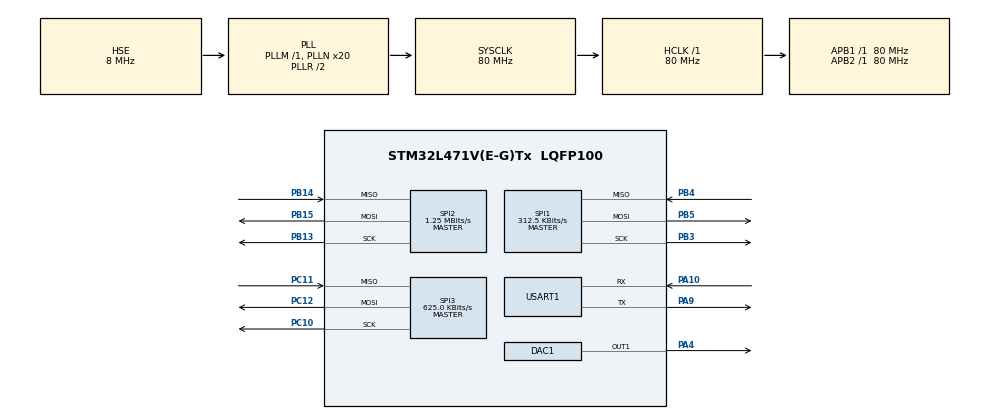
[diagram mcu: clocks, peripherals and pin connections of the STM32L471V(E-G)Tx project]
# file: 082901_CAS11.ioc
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Dma.Request0=SPI1_RX
Dma.Request1=SPI1_TX
Dma.Request2=SPI2_RX
Dma.Request3=SPI2_TX
Dma.Request4=SPI3_RX
Dma.Request5=SPI3_TX
Dma.Request6=USART1_RX
Dma.Request7=USART1_TX
Dma.SPI1_RX.0.Direction=DMA_PERIPH_TO_MEMORY
Dma.SPI1_RX.0.Instance=DMA2_Channel3
Dma.SPI1_RX.0.MemDataAlignment=DMA_MDATAALIGN_BYTE
Dma.SPI1_RX.0.MemInc=DMA_MINC_ENABLE
Dma.SPI1_RX.0.Mode=DMA_NORMAL
Dma.SPI1_RX.0.PeriphDataAlignment=DMA_PDATAALIGN_BYTE
Dma.SPI1_RX.0.PeriphInc=DMA_PINC_DISABLE
Dma.SPI1_RX.0.Priority=DMA_PRIORITY_LOW
Dma.SPI1_TX.1.Direction=DMA_MEMORY_TO_PERIPH
Dma.SPI1_TX.1.Instance=DMA1_Channel3
Dma.SPI1_TX.1.MemDataAlignment=DMA_MDATAALIGN_BYTE
Dma.SPI1_TX.1.MemInc=DMA_MINC_ENABLE
Dma.SPI1_TX.1.Mode=DMA_NORMAL
Dma.SPI1_TX.1.PeriphDataAlignment=DMA_PDATAALIGN_BYTE
Dma.SPI1_TX.1.PeriphInc=DMA_PINC_DISABLE
Dma.SPI1_TX.1.Priority=DMA_PRIORITY_LOW
Dma.SPI2_RX.2.Direction=DMA_PERIPH_TO_MEMORY
Dma.SPI2_RX.2.Instance=DMA1_Channel4
Dma.SPI2_RX.2.MemDataAlignment=DMA_MDATAALIGN_BYTE
Dma.SPI2_RX.2.MemInc=DMA_MINC_ENABLE
Dma.SPI2_RX.2.Mode=DMA_NORMAL
Dma.SPI2_RX.2.PeriphDataAlignment=DMA_PDATAALIGN_BYTE
Dma.SPI2_RX.2.PeriphInc=DMA_PINC_DISABLE
Dma.SPI2_RX.2.Priority=DMA_PRIORITY_LOW
Dma.SPI2_TX.3.Direction=DMA_MEMORY_TO_PERIPH
Dma.SPI2_TX.3.Instance=DMA1_Channel5
Dma.SPI2_TX.3.MemDataAlignment=DMA_MDATAALIGN_BYTE
Dma.SPI2_TX.3.MemInc=DMA_MINC_ENABLE
Dma.SPI2_TX.3.Mode=DMA_CIRCULAR
Dma.SPI2_TX.3.PeriphDataAlignment=DMA_PDATAALIGN_BYTE
Dma.SPI2_TX.3.PeriphInc=DMA_PINC_DISABLE
Dma.SPI2_TX.3.Priority=DMA_PRIORITY_LOW
Dma.SPI3_RX.4.Direction=DMA_PERIPH_TO_MEMORY
Dma.SPI3_RX.4.Instance=DMA2_Channel1
Dma.SPI3_RX.4.MemDataAlignment=DMA_MDATAALIGN_BYTE
Dma.SPI3_RX.4.MemInc=DMA_MINC_ENABLE
Dma.SPI3_RX.4.Mode=DMA_NORMAL
Dma.SPI3_RX.4.PeriphDataAlignment=DMA_PDATAALIGN_BYTE
Dma.SPI3_RX.4.PeriphInc=DMA_PINC_DISABLE
Dma.SPI3_RX.4.Priority=DMA_PRIORITY_LOW
Dma.SPI3_TX.5.Direction=DMA_MEMORY_TO_PERIPH
Dma.SPI3_TX.5.Instance=DMA2_Channel2
Dma.SPI3_TX.5.MemDataAlignment=DMA_MDATAALIGN_BYTE
Dma.SPI3_TX.5.MemInc=DMA_MINC_ENABLE
Dma.SPI3_TX.5.Mode=DMA_NORMAL
Dma.SPI3_TX.5.PeriphDataAlignment=DMA_PDATAALIGN_BYTE
Dma.SPI3_TX.5.PeriphInc=DMA_PINC_DISABLE
Dma.SPI3_TX.5.Priority=DMA_PRIORITY_LOW
Dma.USART1_RX.6.Direction=DMA_PERIPH_TO_MEMORY
Dma.USART1_RX.6.Instance=DMA2_Channel7
Dma.USART1_RX.6.MemDataAlignment=DMA_MDATAALIGN_BYTE
Dma.USART1_RX.6.MemInc=DMA_MINC_ENABLE
Dma.USART1_RX.6.Mode=DMA_NORMAL
Dma.USART1_RX.6.PeriphDataAlignment=DMA_PDATAALIGN_BYTE
Dma.USART1_RX.6.PeriphInc=DMA_PINC_DISABLE
Dma.USART1_RX.6.Priority=DMA_PRIORITY_LOW
Dma.USART1_TX.7.Direction=DMA_MEMORY_TO_PERIPH
Dma.USART1_TX.7.Instance=DMA2_Channel6
Dma.USART1_TX.7.MemDataAlignment=DMA_MDATAALIGN_BYTE
Dma.USART1_TX.7.MemInc=DMA_MINC_ENABLE
Dma.USART1_TX.7.Mode=DMA_NORMAL
Dma.USART1_TX.7.PeriphDataAlignment=DMA_PDATAALIGN_BYTE
Dma.USART1_TX.7.PeriphInc=DMA_PINC_DISABLE
Dma.USART1_TX.7.Priority=DMA_PRIORITY_LOW
Mcu.Family=STM32L4
Mcu.Name=STM32L471V(E-G)Tx
Mcu.Package=LQFP100
NVIC.DMA1_Channel3_IRQn=true\:0\:0\:false\:false\:true\:false\:true\:true
NVIC.DMA1_Channel4_IRQn=true\:0\:0\:false\:false\:true\:false\:true\:true
NVIC.DMA1_Channel5_IRQn=true\:0\:0\:false\:false\:true\:false\:true\:true
NVIC.DMA2_Channel1_IRQn=true\:0\:0\:false\:false\:true\:false\:true\:true
NVIC.DMA2_Channel2_IRQn=true\:0\:0\:false\:false\:true\:false\:true\:true
NVIC.DMA2_Channel3_IRQn=true\:0\:0\:false\:false\:true\:false\:true\:true
NVIC.DMA2_Channel6_IRQn=true\:0\:0\:false\:false\:true\:false\:true\:true
NVIC.DMA2_Channel7_IRQn=true\:0\:0\:false\:false\:true\:false\:true\:true
NVIC.PriorityGroup=NVIC_PRIORITYGROUP_4
NVIC.SPI1_IRQn=true\:0\:0\:false\:false\:true\:true\:true\:true
NVIC.SPI2_IRQn=true\:0\:0\:false\:false\:true\:true\:true\:true
NVIC.TIM2_IRQn=true\:0\:0\:false\:false\:true\:true\:true\:true
NVIC.TIM3_IRQn=true\:0\:0\:false\:false\:true\:true\:true\:true
NVIC.TIM5_IRQn=true\:0\:0\:false\:false\:true\:true\:true\:true
NVIC.USART1_IRQn=true\:0\:0\:false\:false\:true\:true\:true\:true
PA10.Mode=Asynchronous
PA10.Signal=USART1_RX
PA13\ (JTMS-SWDIO).Mode=Serial_Wire
PA13\ (JTMS-SWDIO).Signal=SYS_JTMS-SWDIO
PA14\ (JTCK-SWCLK).Mode=Serial_Wire
PA14\ (JTCK-SWCLK).Signal=SYS_JTCK-SWCLK
PA4.Signal=COMP_DAC11_group
PA9.Mode=Asynchronous
PA9.Signal=USART1_TX
PB13.Mode=Full_Duplex_Master
PB13.Signal=SPI2_SCK
PB14.Mode=Full_Duplex_Master
PB14.Signal=SPI2_MISO
PB15.Mode=Full_Duplex_Master
PB15.Signal=SPI2_MOSI
PB3\ (JTDO-TRACESWO).Mode=Full_Duplex_Master
PB3\ (JTDO-TRACESWO).Signal=SPI1_SCK
PB4\ (NJTRST).Mode=Full_Duplex_Master
PB4\ (NJTRST).Signal=SPI1_MISO
PB5.Mode=Full_Duplex_Master
PB5.Signal=SPI1_MOSI
PC10.Mode=Full_Duplex_Master
PC10.Signal=SPI3_SCK
PC11.Mode=Full_Duplex_Master
PC11.Signal=SPI3_MISO
PC12.Mode=Full_Duplex_Master
PC12.Signal=SPI3_MOSI
PH0-OSC_IN\ (PH0).Mode=HSE-External-Oscillator
PH0-OSC_IN\ (PH0).Signal=RCC_OSC_IN
PH1-OSC_OUT\ (PH1).Mode=HSE-External-Oscillator
PH1-OSC_OUT\ (PH1).Signal=RCC_OSC_OUT
ProjectManager.HeapSize=0x200
ProjectManager.StackSize=0x400
ProjectManager.TargetToolchain=CMake
RCC.ADCFreq_Value=32000000
RCC.AHBFreq_Value=80000000
RCC.APB1Freq_Value=80000000
RCC.APB1TimFreq_Value=80000000
RCC.APB2Freq_Value=80000000
RCC.APB2TimFreq_Value=80000000
RCC.CortexFreq_Value=80000000
RCC.HCLKFreq_Value=80000000
RCC.HSE_VALUE=8000000
RCC.HSI_VALUE=16000000
RCC.LSE_VALUE=32768
RCC.MSI_VALUE=4000000
RCC.PLLN=20
RCC.PLLSourceVirtual=RCC_PLLSOURCE_HSE
RCC.SYSCLKFreq_VALUE=80000000
RCC.SYSCLKSource=RCC_SYSCLKSOURCE_PLLCLK
RCC.VCOOutputFreq_Value=160000000
SH.COMP_DAC11_group.0=DAC1_OUT1,DAC_OUT1
SPI1.BaudRatePrescaler=SPI_BAUDRATEPRESCALER_256
SPI1.CLKPhase=SPI_PHASE_1EDGE
SPI1.CLKPolarity=SPI_POLARITY_LOW
SPI1.CalculateBaudRate=312.5 KBits/s
SPI1.DataSize=SPI_DATASIZE_8BIT
SPI1.Direction=SPI_DIRECTION_2LINES
SPI1.Mode=SPI_MODE_MASTER
SPI1.VirtualType=VM_MASTER
SPI2.BaudRatePrescaler=SPI_BAUDRATEPRESCALER_64
SPI2.CLKPolarity=SPI_POLARITY_LOW
SPI2.CalculateBaudRate=1.25 MBits/s
SPI2.DataSize=SPI_DATASIZE_8BIT
SPI2.Direction=SPI_DIRECTION_2LINES
SPI2.FirstBit=SPI_FIRSTBIT_MSB
SPI2.Mode=SPI_MODE_MASTER
SPI2.VirtualType=VM_MASTER
SPI3.BaudRatePrescaler=SPI_BAUDRATEPRESCALER_128
SPI3.CLKPhase=SPI_PHASE_1EDGE
SPI3.CLKPolarity=SPI_POLARITY_LOW
SPI3.CalculateBaudRate=625.0 KBits/s
SPI3.DataSize=SPI_DATASIZE_8BIT
SPI3.Direction=SPI_DIRECTION_2LINES
SPI3.Mode=SPI_MODE_MASTER
SPI3.VirtualType=VM_MASTER
TIM2.AutoReloadPreload=TIM_AUTORELOAD_PRELOAD_ENABLE
TIM2.Period=99
TIM2.Prescaler=7999
TIM3.Period=10
TIM3.Prescaler=800
USART1.VirtualMode-Asynchronous=VM_ASYNC
VP_TIM2_VS_ClockSourceINT.Mode=Internal
VP_TIM3_VS_ClockSourceINT.Mode=Internal
VP_TIM5_VS_ClockSourceINT.Mode=Internal
board=custom

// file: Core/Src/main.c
/* USER CODE BEGIN Header */
/**
  ******************************************************************************
  * @file           : main.c
  * @brief          : Main program body
  ******************************************************************************
  * @attention
  *
  * Copyright (c) 2024 STMicroelectronics.
  * All rights reserved.
  *
  * This software is licensed under terms that can be found in the LICENSE file
  * in the root directory of this software component.
  * If no LICENSE file comes with this software, it is provided AS-IS.
  *
  ******************************************************************************
  */
/* USER CODE END Header */
#include "main.h"

/* USER CODE BEGIN Includes */
#include "sstv_mode_data.h"
#include "photo_cat.h"
#include "RGB_color_test.h"
#include "DGD_1.h"
#include "DGD_2.h"
#include "DGD_3.h"
/* USER CODE END Includes */

/* USER CODE BEGIN PM */
GM5F2GM7XEXXG_Info_Struct gm5f2gm7xexxg_obj;
GD5F2GM7_Info_Struct gd5f2gm7_obj;
PM004M_Info_Struct pm004m_obj;
LTC5589_Info_Struct ltc5589_obj;
AD9833_Info_Struct ad9833_obj;
AD9833_Info_Struct ad9833_i;
AD9833_Info_Struct ad9833_q;
OSC_Trigger osc_trigger_obj;
Timemeter_Struct timemeter_obj;
extern SSTV_Info_Struct sstv_info;
extern uint16_t test_point[20];

extern TMUX4827_DCSW_Struct tmux4827_5V_DCSW_obj;
extern TMUX4827_DCSW_Struct tmux4827_PA_DCSW_obj;
extern TPS16412_DCProtection_Struct tps16412_5V_PA_obj;
extern TPS16412_DCProtection_Struct tps16412_3V3_PA_obj;
extern TPS16412_DCProtection_Struct tps16412_VCO_obj;
extern TPS16412_DCProtection_Struct tps16412_AVDD_obj;
extern TPS16412_DCProtection_Struct tps16412_AVDD_PLL_obj;
extern TPS22810_DCSW_Struct tps22810_5V_Measure_obj;
// TODO: extern TPS22810_DCSW_Struct tps22810_3V3_Measure_obj;
extern Charger_DCSW_Struct charger_obj;
extern LT3436_Boost_Struct lt3436_obj;
// extern BQ25303_Bat_Struct bq25303_obj;
extern LMR51606_Buck_Struct lmr51606_obj;
extern MXD8546F_RFSW_Struct mxd8546f_obj;
extern SKY13489_RFSW_Struct sky13489_obj;

// urc �????

/* USER CODE END PM */

DAC_HandleTypeDef hdac1;

SPI_HandleTypeDef hspi1;
SPI_HandleTypeDef hspi2;
SPI_HandleTypeDef hspi3;
DMA_HandleTypeDef hdma_spi1_rx;
DMA_HandleTypeDef hdma_spi1_tx;
DMA_HandleTypeDef hdma_spi2_rx;
DMA_HandleTypeDef hdma_spi2_tx;
DMA_HandleTypeDef hdma_spi3_rx;
DMA_HandleTypeDef hdma_spi3_tx;

TIM_HandleTypeDef htim2;
TIM_HandleTypeDef htim3;
TIM_HandleTypeDef htim5;

UART_HandleTypeDef huart1;
DMA_HandleTypeDef hdma_usart1_rx;
DMA_HandleTypeDef hdma_usart1_tx;

/* USER CODE BEGIN PV */

/* 接收相关ringbuffer ------------------------------------------------------------*/
ring_buffer_t uart1_rx_rb;
ring_buffer_t uart1_rx_event_rb;
uint8_t uart1_rx_rb_buffer[4096];
uint8_t uart1_rx_event_rb_buffer[4096];
uint8_t uart1_rx_buffer[256];

/* 发�?�相关ringbuffer ------------------------------------------------------------*/
ring_buffer_t uart1_tx_rb;
ring_buffer_t uart1_tx_event_rb;
uint8_t uart1_tx_rb_buffer[4096];
uint8_t uart1_tx_event_rb_buffer[4096];
uint8_t uart1_tx_buffer[256];

/* 串口1接收空闲中断处理 ------------------------------------------------------------*/
void HAL_UARTEx_RxEventCallback(UART_HandleTypeDef *huart, uint16_t Size) {
    if (huart == &huart1) {
        ring_buffer_put(&uart1_rx_rb, uart1_rx_buffer, Size);       // 把数据放到环形缓冲区�????
        ring_buffer_put(&uart1_rx_event_rb, (uint8_t*)&Size, 2);    // 存储事件的�?�到环形缓冲区中
        HAL_UARTEx_ReceiveToIdle_DMA(&huart1, uart1_rx_buffer, sizeof(uart1_rx_buffer) / sizeof(uart1_rx_buffer[0]));
    }
}

uint32_t at_uart_read(void* buffer, uint32_t len) {
    return ring_buffer_get(&uart1_rx_rb, (uint8_t*)buffer, len);
}

uint32_t at_uart_write(const void* buffer, uint32_t len) {
    ring_buffer_put(&uart1_tx_event_rb, (uint8_t*)&len, 4);
    return ring_buffer_put(&uart1_tx_rb, (uint8_t*) buffer, len);
}

static uint8_t uart1_urcbuffer[256];        // urc 接收缓冲�????
uint8_t uart1_recvbuffer[256];

void task1_handler(void* obj_t, struct at_obj* at, char* recvbuf, int32_t len);
void task2_handler(void* obj_t, struct at_obj* at, char* recvbuf, int32_t len);
void task3_handler(void* obj_t, struct at_obj* at, char* recvbuf, int32_t len);

static at_obj_t at;

static const urc_item_t urc_table[] = {     // urc �????
    {NULL, &at, "task1", task1_handler},
    {NULL, &at, "task2", task2_handler},
    {NULL, &at, "task3", task3_handler},
    {&ltc5589_obj, &at, "AT+5589", LTC5589_AT_Handler},
};

static const at_adapter_t at_adapter = {    // at 适配�????
    .write = at_uart_write,
    .read = at_uart_read,
    .error = NULL,
    .urc_tbl = (urc_item_t*)urc_table,
    .urc_buf = uart1_urcbuffer,
    .recv_buf = uart1_recvbuffer,
    .urc_tbl_count = sizeof(urc_table) / sizeof(urc_table[0]),
    .urc_buf_size = sizeof(uart1_urcbuffer),
    .recv_buf_size = sizeof(uart1_recvbuffer)
};

void task1_handler(void* obj_t, struct at_obj* at, char* recvbuf, int32_t len) {
    char tx_buff[] = "Task1 Receive: ";
    at_send_data(at, (void*)tx_buff, sizeof(tx_buff));
    at_send_data(at, (void*)recvbuf, len);
}

void task2_handler(void* obj_t, struct at_obj* at, char* recvbuf, int32_t len) {
    uint8_t tx_buff[] = "\ntask2 receive: ";
    HAL_UART_Transmit(&huart1, tx_buff, sizeof(tx_buff), HAL_MAX_DELAY);
    HAL_UART_Transmit(&huart1, (uint8_t*)recvbuf, len, HAL_MAX_DELAY);
}

void task3_handler(void* obj_t, struct at_obj* at, char* recvbuf, int32_t len) {
    uint8_t tx_buff[] = "\ntask3 receive: ";
    HAL_UART_Transmit(&huart1, tx_buff, sizeof(tx_buff), HAL_MAX_DELAY);
    HAL_UART_Transmit(&huart1, (uint8_t*)recvbuf, len, HAL_MAX_DELAY);
}

void HAL_SPI_TxCpltCallback(SPI_HandleTypeDef *hspi) {
    //------------------------------FLAH中断处理------------------------------
    // GD5F2GM7_Transmit_IRQ_Handler(&gd5f2gm7_obj, hspi);
    //------------------------------MRAM中断处理------------------------------
    // PM004M_Transmit_IRQ_Handler(&pm004m_obj, hspi);
    //------------------------------DDS中断处理------------------------------
    AD9833_Transmit_IRQ_Handler(&ad9833_obj, hspi);
}

void HAL_SPI_RxCpltCallback(SPI_HandleTypeDef *hspi) {
    //------------------------------FLASH中断处理------------------------------
    GD5F2GM7_Receive_IRQ_Handler(&gd5f2gm7_obj, hspi);
    //------------------------------MRAM中断处理------------------------------
    PM004M_Receive_IRQ_Handler(&pm004m_obj, hspi);
}

void HAL_TIM_PeriodElapsedCallback(TIM_HandleTypeDef* htim){
    if(htim->Instance == gd5f2gm7_obj.tim->Instance && sstv_info._sstv_tx_state == SSTV_Transmitting){
      __HAL_TIM_DISABLE(sstv_info.gd5f2gm7_obj->tim);

      sstv_info._flash_RA += 1;
      GD5F2GM7_PageRead_ToCache(sstv_info.gd5f2gm7_obj, sstv_info._flash_RA);
      test_point[13]++;
      // printf("tc\r\n");
    }else if(htim->Instance == osc_trigger_obj.osc_tim->Instance){
      osc_trigger_end(&osc_trigger_obj);
      printf("osc trigger end\r\n");
    }
}

/* USER CODE END PV */

void SystemClock_Config(void);
static void MX_GPIO_Init(void);
static void MX_DMA_Init(void);
static void MX_USART1_UART_Init(void);
static void MX_SPI1_Init(void);
static void MX_SPI2_Init(void);
static void MX_SPI3_Init(void);
static void MX_DAC1_Init(void);
static void MX_TIM2_Init(void);
static void MX_TIM3_Init(void);
static void MX_TIM5_Init(void);

int main(void)
{

  /* MCU Configuration--------------------------------------------------------*/

  /* Reset of all peripherals, Initializes the Flash interface and the Systick. */
  HAL_Init();

  /* Configure the system clock */
  SystemClock_Config();

  /* Initialize all configured peripherals */
  MX_GPIO_Init();
  MX_DMA_Init();
  MX_USART1_UART_Init();
  MX_SPI1_Init();
  MX_SPI2_Init();
  MX_SPI3_Init();
  MX_DAC1_Init();
  MX_TIM2_Init();
  MX_TIM3_Init();
  MX_TIM5_Init();
  /* USER CODE BEGIN 2 */
  /*--------------控制信号---------------*/
#ifdef CONTROL_TEST
  #ifdef BOARD_v1
  control_output_init();
  HAL_Delay(300);
  EN_TPS16412_DCProtection(tps16412_VCO_obj);
  EN_TPS16412_DCProtection(tps16412_AVDD_obj);
  EN_TPS16412_DCProtection(tps16412_AVDD_PLL_obj);
  EN_LMR51606_BUCK(lmr51606_obj);
  HAL_Delay(300);
  #else

  #endif
#endif
  /*--------------示波器触发源---------------*/
  #ifdef OSC_TRIGGER_TEST
  osc_trigger_init(&osc_trigger_obj, GPIO_PIN_0, GPIOB, RISING_EDGE, &htim5);
  osc_trigger_prepare(&osc_trigger_obj);
  #endif
  #ifdef CAL_TIME
  Timemeter_Init(&timemeter_obj);
  #endif

//----------------------------------AT指令测试------------------------------
  #ifdef AT_TEST
  // ring_buffer_init(&uart1_rx_rb, uart1_rx_rb_buffer, sizeof(uart1_rx_rb_buffer) / sizeof(uart1_rx_rb_buffer[0]));
  // ring_buffer_init(&uart1_rx_event_rb, uart1_rx_event_rb_buffer, sizeof(uart1_rx_event_rb_buffer) / sizeof(uart1_rx_event_rb_buffer[0]));
  // ring_buffer_init(&uart1_tx_rb, uart1_tx_buffer, sizeof(uart1_tx_rb_buffer) / sizeof(uart1_tx_rb_buffer[0]));
  // ring_buffer_init(&uart1_tx_event_rb, uart1_tx_event_rb_buffer, sizeof(uart1_tx_event_rb_buffer) / sizeof(uart1_tx_event_rb_buffer[0]));

  // HAL_UARTEx_ReceiveToIdle_IT(&huart1, uart1_rx_buffer, sizeof(uart1_rx_buffer) / sizeof(uart1_rx_buffer[0]));
  // 使用DMA进行接收,保证数据不会丢失
  // HAL_UARTEx_ReceiveToIdle_DMA(&huart1, uart1_rx_buffer, sizeof(uart1_rx_buffer) / sizeof(uart1_rx_buffer[0]));
  // at_obj_init(&at, &at_adapter);
  #endif

  uint32_t uart1_tx_data_size = 0;
  uint32_t uart1_rx_data_size = 0;

  //------------------------------MRAM驱动测试------------------------------
  #ifdef MRAM_TEST
  uint8_t mram_data = 0xaa;
  PM004M_Init(&pm004m_obj, &hspi1, GPIO_PIN_9, GPIOB);
  PM004M_ModeRegisterWrite(&pm004m_obj, 0x0000, 0x80);
  PM004M_ModeRegisterRead(&pm004m_obj, 0x0000, &mram_data);
  printf("MRAM data: %x\r\n", mram_data);
  #endif

  //------------------------------FLASH驱动测试------------------------------
  #ifdef FLASH_TEST
  AD9833_Init(&ad9833_i, NULL, GPIO_PIN_6, GPIOC, 25000000);
  AD9833_Init(&ad9833_q, NULL, GPIO_PIN_12, GPIOB, 25000000);

  uint8_t reg_status = 0xaa;
  GD5F2GM7_Init(&gd5f2gm7_obj, &hspi1, GPIO_PIN_6, GPIOB, &htim3, 40);
  GD5F2GM7_Reset(&gd5f2gm7_obj);
  HAL_Delay(1);
  GD5F2GM7_Get_Features(&gd5f2gm7_obj, 0xA0, &reg_status);
  printf("A0: %x\r\n", reg_status);
  GD5F2GM7_Get_Features(&gd5f2gm7_obj, 0xB0, &reg_status);
  printf("B0: %x\r\n", reg_status);
  GD5F2GM7_Get_Features(&gd5f2gm7_obj, 0xC0, &reg_status);
  printf("C0: %x\r\n", reg_status);
  GD5F2GM7_Get_Features(&gd5f2gm7_obj, 0xD0, &reg_status);
  printf("D0: %x\r\n", reg_status);
  GD5F2GM7_Get_Features(&gd5f2gm7_obj, 0xF0, &reg_status);
  printf("F0: %x\r\n", reg_status);
  // GD5F2GM7_Set_Features(&gd5f2gm7_obj, 0xC0, 0x02);
  printf("\r\n");

  SSTV_Init(&SCT1_MODE, &ad9833_i, &ad9833_q, &gd5f2gm7_obj, 0);
  // gen_flash_data第二个参数为图片�???在flash首地�???
  gen_flash_data(&gd5f2gm7_obj, 0, DGD_1_R1, DGD_1_G1, DGD_1_B1);
  gen_flash_data(&gd5f2gm7_obj, 256*3, DGD_2_R1, DGD_2_G1, DGD_2_B1);
  gen_flash_data(&gd5f2gm7_obj, 256*3*2, DGD_3_R1, DGD_3_G1, DGD_3_B1);

  GD5F2GM7_Get_Features(&gd5f2gm7_obj, 0xA0, &reg_status);
  printf("A0: %x\r\n", reg_status);
  GD5F2GM7_Get_Features(&gd5f2gm7_obj, 0xB0, &reg_status);
  printf("B0: %x\r\n", reg_status);
  GD5F2GM7_Get_Features(&gd5f2gm7_obj, 0xC0, &reg_status);
  printf("C0: %x\r\n", reg_status);
  GD5F2GM7_Get_Features(&gd5f2gm7_obj, 0xD0, &reg_status);
  printf("D0: %x\r\n", reg_status);
  GD5F2GM7_Get_Features(&gd5f2gm7_obj, 0xF0, &reg_status);
  printf("F0: %x\r\n", reg_status);
  // HAL_UART_Transmit(&huart1, reg_status, 1, HAL_MAX_DELAY);
  #endif
  // for(uint32_t i = 0; i < 81920;i++){
  //   printf("%x ", R1[i]);
  // }
  // printf("\r\n");
  // for(uint32_t i = 0; i < 81920;i++){
  //   printf("%x ", G1[i]);
  // }
  // printf("\r\n");
  // for(uint32_t i = 0; i < 81920;i++){
  //   printf("%x ", B1[i]);
  // }
  // printf("\r\n");

  //------------------------------本振ADF4252测试------------------------------
#ifdef ADF4252_TEST
  ADF4252_Info_Struct adf4252_obj;

  #ifdef BOARD_v1
  UTILS_RCC_GPIO_Enable(GPIOE);
  GPIO_InitTypeDef GPIO_InitStruct = {0};
  GPIO_InitStruct.Mode = GPIO_MODE_OUTPUT_PP;
  GPIO_InitStruct.Pull = GPIO_NOPULL;
  GPIO_InitStruct.Speed = GPIO_SPEED_FREQ_HIGH;

  HAL_GPIO_WritePin(GPIOE, GPIO_PIN_9|GPIO_PIN_10, GPIO_PIN_RESET);
  GPIO_InitStruct.Pin = GPIO_PIN_9|GPIO_PIN_10;
  HAL_GPIO_Init(GPIOE, &GPIO_InitStruct);
  ADF4252_Init(&adf4252_obj, &hspi3, GPIO_PIN_11, GPIOE);
  #else
  ADF4252_Init(&adf4252_obj, &hspi3, GPIO_PIN_6, GPIOA);
  #endif

  (&adf4252_obj)->_val_rf_n_divider  = 0x780008;
  (&adf4252_obj)->_val_rf_r_divider  = 0x108009;
  (&adf4252_obj)->_val_rf_control    = 0x88C2;
  (&adf4252_obj)->_val_master        = 0x7C3;
  (&adf4252_obj)->_val_if_n_divider  = 0x40A864;
  (&adf4252_obj)->_val_if_r_divider  = 0x195;
  (&adf4252_obj)->_val_if_control    = 0xA6;
  ADF4252_Write_All_Registers(&adf4252_obj);
  HAL_Delay(1000);
#endif

  //------------------------------生成DDS的直流电�????------------------------------
  // HAL_DAC_SetValue(&hdac1, DAC_CHANNEL_1, DAC_ALIGN_12B_R, 470);
  // HAL_DAC_Start(&hdac1, DAC_CHANNEL_1);

  //------------------------------LTC5589驱动测试------------------------------
#ifdef LTC5589_TEST
  #ifdef BOARD_v1
  UTILS_RCC_GPIO_Enable(GPIOC);
  UTILS_RCC_GPIO_Enable(GPIOB);
  GPIO_InitStruct.Mode = GPIO_MODE_OUTPUT_PP;
  GPIO_InitStruct.Pull = GPIO_NOPULL;
  GPIO_InitStruct.Speed = GPIO_SPEED_FREQ_HIGH;

  HAL_GPIO_WritePin(GPIOC, GPIO_PIN_1, GPIO_PIN_RESET);
  HAL_GPIO_WritePin(GPIOB, GPIO_PIN_0, GPIO_PIN_RESET);
  GPIO_InitStruct.Pin = GPIO_PIN_0;
  HAL_GPIO_Init(GPIOB, &GPIO_InitStruct); // clk
  GPIO_InitStruct.Pin = GPIO_PIN_1;
  HAL_GPIO_Init(GPIOB, &GPIO_InitStruct); // mosi

  GPIO_InitStruct.Mode = GPIO_MODE_INPUT;
  GPIO_InitStruct.Pin = GPIO_PIN_2;
  HAL_GPIO_Init(GPIOB, &GPIO_InitStruct); // miso

  LTC5589_Init(&ltc5589_obj, &hspi3, GPIO_PIN_5, GPIOC, GPIO_PIN_7, GPIOE, GPIO_PIN_8, GPIOE);
  #else

  // FIXME: 小板子没有EN Pin
  LTC5589_Init(&ltc5589_obj, &hspi3, GPIO_PIN_0, GPIOB, GPIO_PIN_1, GPIOB, GPIO_PIN_7, GPIOE);
  #endif
  LTC5589_Set_Frequency(&ltc5589_obj, 0x41);

  LTC5589_Set_DigitalGain_Coarse(&ltc5589_obj, 0);
  LTC5589_Set_DCOffset(&ltc5589_obj, LTC5589_CHANNEL_I, 131);//0x13
#endif /* LTC5589_TEST */

  //------------------------------AD9833测试------------------------------
  #ifdef AD9833_TEST
  #ifdef BOARD_v1
  AD9833_Init(&ad9833_i, NULL, GPIO_PIN_14, GPIOB, 25000000);
  AD9833_Init(&ad9833_q, NULL, GPIO_PIN_12, GPIOB, 25000000);
  #else
  AD9833_Init(&ad9833_i, NULL, GPIO_PIN_6, GPIOC, 25000000);
  AD9833_Init(&ad9833_q, NULL, GPIO_PIN_12, GPIOB, 25000000);
  #endif
  AD9833_Init_Tx_DMA_TIM(&ad9833_i, &ad9833_q, &hspi2, &htim2);
  uint32_t freq = 3000;
  AD9833_Transmit_Start(&ad9833_q);
  AD9833_Transmit_Start(&ad9833_i);
  // 使能以后要等一会儿
  UTILS_Delay_us(10);
  // AD9833_Transmit_Stop(&ad9833_q);
  // AD9833_Transmit_Stop(&ad9833_i);
  // UTILS_Delay_us(10);
  // AD9833_Reset(&ad9833_i, true, true);
  // UTILS_Delay_us(10);
  // AD9833_Transmit_Start(&ad9833_i);
  // UTILS_Delay_us(10);
  // AD9833_SetPhase(&ad9833_i, AD9833_REG_PHASE0, 0x000);
  // UTILS_Delay_us(10);
  // AD9833_Transmit_Stop(&ad9833_i);

  // AD9833_Transmit_Start(&ad9833_q);
  // UTILS_Delay_us(10);
  // AD9833_SetPhase(&ad9833_q, AD9833_REG_PHASE0, 0x400);
  // UTILS_Delay_us(10);

  // AD9833_Transmit_Start(&ad9833_i);   // 同时控制I Q路
  // AD9833_SetWave(&ad9833_i, AD9833_WAVE_SINUSOID, false);
  // AD9833_FrequencyOutSelect(&ad9833_i, AD9833_OUT_FREQ0, false);
  // AD9833_PhaseOutSelect(&ad9833_i, AD9833_OUT_PHASE0, false);
  // AD9833_Sleep(&ad9833_i, AD9833_SLEEP_NO_PWERDOWN, false);

  uint16_t raw_frq = 1500;
  uint16_t frqh = AD9833_REG_FREQ0;
  uint16_t frql = AD9833_REG_FREQ0;
  AD9833_FrequencyConversion_2Reg(&ad9833_i, &raw_frq, &frqh, &frql);
  // printf("%x %x\r\n", frqh, frql);
  AD9833_Reset(&ad9833_i, false, false); // 开启输出
  UTILS_Delay_us(10);
  AD9833_Write_Whole_Frq(&ad9833_i, &frqh, &frql);  // 同时写入control reg
  UTILS_Delay_us(10);

  HAL_Delay(3000);
  raw_frq = 2000;
  AD9833_FrequencyConversion_2Reg(&ad9833_i, &raw_frq, &frqh, &frql);
  AD9833_Write_Whole_Frq(&ad9833_i, &frqh, &frql);
  AD9833_Transmit_Stop(&ad9833_i);
  AD9833_Transmit_Stop(&ad9833_q);

  #endif

  uint8_t i_dc_offset = 0x50;
  uint8_t ltc_freq = 0x3d;
  uint8_t packet[256];
  int8_t gain = -19;
  uint8_t char_map[] = {'0', '1', '2', '3', '4', '5', '6', '7', '8', '9', 'A', 'B', 'C', 'D', 'E', 'F'};
  uint8_t ratio = 1;
  uint16_t dds_phrase = 0x300;

  #ifdef SSTV_TEST
  // 在flashtest配置�???
  AD9833_Init(&ad9833_i, NULL, GPIO_PIN_6, GPIOC, 25000000);
  AD9833_Init(&ad9833_q, NULL, GPIO_PIN_12, GPIOB, 25000000);
/*
  仅测试用，低速IO操作�????
  PB10->CLK
  PC3->DATA
*/
  // UTILS_RCC_GPIO_Enable(GPIOB);
  // GPIO_InitTypeDef GPIO_InitStruct = {0};

  // GPIO_InitStruct.Pin = GPIO_PIN_12|GPIO_PIN_13|GPIO_PIN_15;
  // GPIO_InitStruct.Mode = GPIO_MODE_OUTPUT_PP;
  // GPIO_InitStruct.Pull = GPIO_NOPULL;
  // GPIO_InitStruct.Speed = GPIO_SPEED_FREQ_HIGH;
  // HAL_GPIO_Init(GPIOB, &GPIO_InitStruct);

  // UTILS_RCC_GPIO_Enable(GPIOC);

  // GPIO_InitStruct.Pin = GPIO_PIN_6;
  // GPIO_InitStruct.Mode = GPIO_MODE_OUTPUT_PP;
  // GPIO_InitStruct.Pull = GPIO_NOPULL;
  // GPIO_InitStruct.Speed = GPIO_SPEED_FREQ_HIGH;
  // HAL_GPIO_Init(GPIOC, &GPIO_InitStruct);
  //-------------------------------------------

  HAL_GPIO_WritePin(ad9833_i.fsync_pin_type, ad9833_i.fsync_pin, GPIO_PIN_SET);   // FSYNC default high
  HAL_GPIO_WritePin(ad9833_q.fsync_pin_type, ad9833_q.fsync_pin, GPIO_PIN_SET);
  HAL_Delay(10);

  // osc_trigger_start(&osc_trigger_obj);
  // �???后一个参数为发�?�的图片的首地址
  uint8_t send = 1;
  SSTV_Init(&SCT1_MODE, &ad9833_i, &ad9833_q, &gd5f2gm7_obj, 0);
  SSTV_Transmit();

  // HAL_GPIO_WritePin(ad9833_i.fsync_pin_type, ad9833_i.fsync_pin, GPIO_PIN_SET);
  // HAL_GPIO_WritePin(ad9833_q.fsync_pin_type, ad9833_q.fsync_pin, GPIO_PIN_SET);
  #endif/* SSTV_TEST */
  /* USER CODE END 2 */

  /* Infinite loop */
  while (1)
  {

    /* USER CODE BEGIN 3 */
    printf("while\r\n");
    HAL_Delay(1000);
    #ifdef SSTV_TEST
    if(Get_SSTV_Status() == UTILS_IDLE){
      HAL_Delay(4000);
      // HAL_TIM_Base_DeInit(&htim2);
      // HAL_DMA_DeInit(sstv_info.AD9833_I->spi->hdmatx);
      // MX_DMA_Init();
      // MX_TIM2_Init();
      if(send == 1){
        SSTV_Init(&SCT1_MODE, &ad9833_i, &ad9833_q, &gd5f2gm7_obj, 256*3);
        SSTV_Transmit();
        send++;
      }else if(send == 2){
        SSTV_Init(&SCT1_MODE, &ad9833_i, &ad9833_q, &gd5f2gm7_obj, 256*3*2);
        SSTV_Transmit();
        send++;
      }
    }
    #endif

    #ifdef AD9833_SCAN_TEST
    #ifdef BOARD_v1
    AD9833_Init(&ad9833_i, NULL, GPIO_PIN_14, GPIOB, 25000000);
    AD9833_Init(&ad9833_q, NULL, GPIO_PIN_12, GPIOB, 25000000);
    #else
    AD9833_Init(&ad9833_i, NULL, GPIO_PIN_6, GPIOC, 25000000);
    AD9833_Init(&ad9833_q, NULL, GPIO_PIN_12, GPIOB, 25000000);
    #endif
    AD9833_Init_Tx_DMA_TIM(&ad9833_i, &ad9833_q, &hspi2, &htim2);
    uint32_t freq = 3000;
    // Reset both DDS
    // AD9833_Reset(&ad9833_i, true);
    // AD9833_Reset(&ad9833_q, true);
    HAL_GPIO_WritePin(ad9833_i.fsync_pin_type, ad9833_i.fsync_pin, GPIO_PIN_RESET);
    HAL_GPIO_WritePin(ad9833_q.fsync_pin_type, ad9833_q.fsync_pin, GPIO_PIN_RESET);
    HAL_Delay(1);
    uint16_t temp = AD9833_REG_CONTROL | AD9833_REG_RESET;
    SPI_Write_Half_Word(ad9833_i.spi, &temp);
    HAL_Delay(200);

    // write i phase 0
    HAL_GPIO_WritePin(ad9833_q.fsync_pin_type, ad9833_q.fsync_pin, GPIO_PIN_SET);
    HAL_Delay(1);
    temp = AD9833_REG_PHASE0 | 0x000;
    SPI_Write_Half_Word(ad9833_i.spi, &temp);
    HAL_Delay(1);
    // write q phase pi/2
    HAL_GPIO_WritePin(ad9833_q.fsync_pin_type, ad9833_q.fsync_pin, GPIO_PIN_RESET);
    HAL_GPIO_WritePin(ad9833_i.fsync_pin_type, ad9833_i.fsync_pin, GPIO_PIN_SET);
    HAL_Delay(1);
    uint16_t dds_phrase_init = 0x3e0;
    if(dds_phrase < 0x420){
      dds_phrase += 4;
    }else{
      dds_phrase = dds_phrase_init;
    }
    // dds_phrase = 0x3e6;
    printf("dds phrase: %x\r\n", dds_phrase);
    temp = AD9833_REG_PHASE0 | dds_phrase;
    SPI_Write_Half_Word(ad9833_i.spi, &temp);
    HAL_Delay(1);

    // write both DDS frq
    HAL_GPIO_WritePin(ad9833_i.fsync_pin_type, ad9833_i.fsync_pin, GPIO_PIN_RESET);
    HAL_GPIO_WritePin(ad9833_q.fsync_pin_type, ad9833_q.fsync_pin, GPIO_PIN_RESET);
    HAL_Delay(1);
    uint16_t raw_frq = 1500;
    uint16_t frqh = AD9833_REG_FREQ0;
    uint16_t frql = AD9833_REG_FREQ0;
    AD9833_FrequencyConversion_2Reg(&ad9833_i, &raw_frq, &frqh, &frql);
    // printf("%x %x\r\n", frqh, frql);
    AD9833_Write_Whole_Frq(&hspi2, &frqh, &frql);
    HAL_Delay(1);
    HAL_GPIO_WritePin(ad9833_i.fsync_pin_type, ad9833_i.fsync_pin, GPIO_PIN_SET);
    HAL_GPIO_WritePin(ad9833_q.fsync_pin_type, ad9833_q.fsync_pin, GPIO_PIN_SET);
    HAL_Delay(1000);
    #endif

    // printf("while\r\n");
    // if (ring_buffer_get(&uart1_rx_event_rb, (uint8_t*)&uart1_rx_data_size, 4) != 0) {
    //     at_recv_task(&at, uart1_rx_data_size);
    // }

    // if (ring_buffer_get(&uart1_tx_event_rb, (uint8_t*)&uart1_tx_data_size, 4) != 0) {
    //     ring_buffer_get(&uart1_tx_rb, uart1_tx_buffer, uart1_tx_data_size);
    //     HAL_UART_Transmit(&huart1, uart1_tx_buffer, uart1_tx_data_size, HAL_MAX_DELAY);
    // }

    // AD9833_SetFrequency(&ad9833_obj, AD9833_REG_FREQ0, AD9833_FREQ_ALL, &freq_list[0], 1, UTILS_DMA);
    // HAL_Delay(1000);
    // AD9833_SetFrequency(&ad9833_obj, AD9833_REG_FREQ0, AD9833_FREQ_ALL, &freq_list[1], 1, UTILS_DMA);
    // HAL_Delay(1000);
    // AD9833_SetFrequency(&ad9833_obj, AD9833_REG_FREQ0, AD9833_FREQ_ALL, &freq_list[2], 1, UTILS_DMA);
    // HAL_Delay(1000);
    // AD9833_SetFrequency(&ad9833_obj, AD9833_REG_FREQ0, AD9833_FREQ_ALL, &freq_list[3], 1, UTILS_DMA);
    // HAL_Delay(1000);

    //------------------------------LTC5589测试------------------------------
    #ifdef LTC5589_SCAN_TEST
    // LTC5589_Set_Frequency(&ltc5589_obj, ltc_freq);
    // LTC5589_Read_Register(&ltc5589_obj, 0x00, rx_buff);

    // LTC5589_Set_DigitalGain_Coarse(&ltc5589_obj, gain);

    LTC5589_Set_DCOffset(&ltc5589_obj, LTC5589_CHANNEL_I, i_dc_offset);
    i_dc_offset += 10;
    if (i_dc_offset >= 250) {
        i_dc_offset = 1;
    }
    printf("mixer i dc offset: %d\r\n", i_dc_offset);

    /*
    LTC5589_Set_IQ_GainRatio(&ltc5589_obj, ratio);

    do {
        LTC5589_Set_DCOffset(&ltc5589_obj, LTC5589_CHANNEL_I, i_dc_offset);
        packet[0] = char_map[(i_dc_offset & 0xF0) >> 4];
        packet[1] = char_map[(i_dc_offset & 0x0F)];
        // packet[2] = '\n';
        packet[2] = ' ';
        packet[3] = char_map[(ratio & 0xF0) >> 4];
        packet[4] = char_map[(ratio & 0x0F)];
        packet[5] = '\n';
        HAL_UART_Transmit(&huart1, packet, 6, HAL_MAX_DELAY);

        i_dc_offset += 5;
        if (i_dc_offset >= 250) {
            i_dc_offset = 1;
            break;
        }

        packet[2] = ' ';
        // 扫增�??????
        packet[3] = '-';
        packet[4] = char_map[((-gain) & 0xF0) >> 4];
        packet[5] = char_map[((-gain) & 0x0F)];
        packet[6] = '\n';
        // 扫频
        // packet[3] = char_map[(ltc_freq & 0xF0) >> 4];
        // packet[4] = char_map[(ltc_freq & 0x0F)];
        // packet[5] = char_map[(rx_buff[0] & 0xF0) >> 4];
        // packet[6] = char_map[(rx_buff[0] & 0x0F)];
        // packet[7] = '\n';
        HAL_Delay(1000);
    } while(1);

    ratio += 5;
    if (ratio >= 250)
        ratio = 1;

    // ltc_freq += 1;
    // if (ltc_freq == 0x43)
    //     ltc_freq = 0x3d;

    // AD9833_SetFrequency(&ad9833_obj, AD9833_REG_FREQ0, AD9833_FREQ_NO_CHANGE, &freq, sizeof(freq), UTILS_LOOP);
    // AD9833_FrequencyOutSelect(&ad9833_obj, AD9833_OUT_FREQ0);
    HAL_Delay(1000);
    */
    #endif
    //------------------------------LTC5589测试------------------------------
  }
  /* USER CODE END 3 */
}

void SystemClock_Config(void)
{
  RCC_OscInitTypeDef RCC_OscInitStruct = {0};
  RCC_ClkInitTypeDef RCC_ClkInitStruct = {0};

  /** Configure the main internal regulator output voltage
  */
  if (HAL_PWREx_ControlVoltageScaling(PWR_REGULATOR_VOLTAGE_SCALE1) != HAL_OK)
  {
    Error_Handler();
  }

  /** Initializes the RCC Oscillators according to the specified parameters
  * in the RCC_OscInitTypeDef structure.
  */
  RCC_OscInitStruct.OscillatorType = RCC_OSCILLATORTYPE_HSE;
  RCC_OscInitStruct.HSEState = RCC_HSE_ON;
  RCC_OscInitStruct.PLL.PLLState = RCC_PLL_ON;
  RCC_OscInitStruct.PLL.PLLSource = RCC_PLLSOURCE_HSE;
  RCC_OscInitStruct.PLL.PLLM = 1;
  RCC_OscInitStruct.PLL.PLLN = 20;
  RCC_OscInitStruct.PLL.PLLP = RCC_PLLP_DIV7;
  RCC_OscInitStruct.PLL.PLLQ = RCC_PLLQ_DIV2;
  RCC_OscInitStruct.PLL.PLLR = RCC_PLLR_DIV2;
  if (HAL_RCC_OscConfig(&RCC_OscInitStruct) != HAL_OK)
  {
    Error_Handler();
  }

  /** Initializes the CPU, AHB and APB buses clocks
  */
  RCC_ClkInitStruct.ClockType = RCC_CLOCKTYPE_HCLK|RCC_CLOCKTYPE_SYSCLK
                              |RCC_CLOCKTYPE_PCLK1|RCC_CLOCKTYPE_PCLK2;
  RCC_ClkInitStruct.SYSCLKSource = RCC_SYSCLKSOURCE_PLLCLK;
  RCC_ClkInitStruct.AHBCLKDivider = RCC_SYSCLK_DIV1;
  RCC_ClkInitStruct.APB1CLKDivider = RCC_HCLK_DIV1;
  RCC_ClkInitStruct.APB2CLKDivider = RCC_HCLK_DIV1;

  if (HAL_RCC_ClockConfig(&RCC_ClkInitStruct, FLASH_LATENCY_4) != HAL_OK)
  {
    Error_Handler();
  }
}

static void MX_DAC1_Init(void)
{

  DAC_ChannelConfTypeDef sConfig = {0};

  /** DAC Initialization
  */
  hdac1.Instance = DAC1;
  if (HAL_DAC_Init(&hdac1) != HAL_OK)
  {
    Error_Handler();
  }

  /** DAC channel OUT1 config
  */
  sConfig.DAC_SampleAndHold = DAC_SAMPLEANDHOLD_DISABLE;
  sConfig.DAC_Trigger = DAC_TRIGGER_NONE;
  sConfig.DAC_OutputBuffer = DAC_OUTPUTBUFFER_ENABLE;
  sConfig.DAC_ConnectOnChipPeripheral = DAC_CHIPCONNECT_DISABLE;
  sConfig.DAC_UserTrimming = DAC_TRIMMING_FACTORY;
  if (HAL_DAC_ConfigChannel(&hdac1, &sConfig, DAC_CHANNEL_1) != HAL_OK)
  {
    Error_Handler();
  }

}

static void MX_SPI1_Init(void)
{

  /* SPI1 parameter configuration*/
  hspi1.Instance = SPI1;
  hspi1.Init.Mode = SPI_MODE_MASTER;
  hspi1.Init.Direction = SPI_DIRECTION_2LINES;
  hspi1.Init.DataSize = SPI_DATASIZE_8BIT;
  hspi1.Init.CLKPolarity = SPI_POLARITY_LOW;
  hspi1.Init.CLKPhase = SPI_PHASE_1EDGE;
  hspi1.Init.NSS = SPI_NSS_SOFT;
  hspi1.Init.BaudRatePrescaler = SPI_BAUDRATEPRESCALER_256;
  hspi1.Init.FirstBit = SPI_FIRSTBIT_MSB;
  hspi1.Init.TIMode = SPI_TIMODE_DISABLE;
  hspi1.Init.CRCCalculation = SPI_CRCCALCULATION_DISABLE;
  hspi1.Init.CRCPolynomial = 7;
  hspi1.Init.CRCLength = SPI_CRC_LENGTH_DATASIZE;
  hspi1.Init.NSSPMode = SPI_NSS_PULSE_ENABLE;
  if (HAL_SPI_Init(&hspi1) != HAL_OK)
  {
    Error_Handler();
  }

}

static void MX_SPI2_Init(void)
{

  /* SPI2 parameter configuration*/
  hspi2.Instance = SPI2;
  hspi2.Init.Mode = SPI_MODE_MASTER;
  hspi2.Init.Direction = SPI_DIRECTION_2LINES;
  hspi2.Init.DataSize = SPI_DATASIZE_8BIT;
  hspi2.Init.CLKPolarity = SPI_POLARITY_LOW;
  hspi2.Init.CLKPhase = SPI_PHASE_1EDGE;
  hspi2.Init.NSS = SPI_NSS_SOFT;
  hspi2.Init.BaudRatePrescaler = SPI_BAUDRATEPRESCALER_64;
  hspi2.Init.FirstBit = SPI_FIRSTBIT_MSB;
  hspi2.Init.TIMode = SPI_TIMODE_DISABLE;
  hspi2.Init.CRCCalculation = SPI_CRCCALCULATION_DISABLE;
  hspi2.Init.CRCPolynomial = 7;
  hspi2.Init.CRCLength = SPI_CRC_LENGTH_DATASIZE;
  hspi2.Init.NSSPMode = SPI_NSS_PULSE_ENABLE;
  if (HAL_SPI_Init(&hspi2) != HAL_OK)
  {
    Error_Handler();
  }

}

static void MX_SPI3_Init(void)
{

  /* SPI3 parameter configuration*/
  hspi3.Instance = SPI3;
  hspi3.Init.Mode = SPI_MODE_MASTER;
  hspi3.Init.Direction = SPI_DIRECTION_2LINES;
  hspi3.Init.DataSize = SPI_DATASIZE_8BIT;
  hspi3.Init.CLKPolarity = SPI_POLARITY_LOW;
  hspi3.Init.CLKPhase = SPI_PHASE_1EDGE;
  hspi3.Init.NSS = SPI_NSS_SOFT;
  hspi3.Init.BaudRatePrescaler = SPI_BAUDRATEPRESCALER_128;
  hspi3.Init.FirstBit = SPI_FIRSTBIT_MSB;
  hspi3.Init.TIMode = SPI_TIMODE_DISABLE;
  hspi3.Init.CRCCalculation = SPI_CRCCALCULATION_DISABLE;
  hspi3.Init.CRCPolynomial = 7;
  hspi3.Init.CRCLength = SPI_CRC_LENGTH_DATASIZE;
  hspi3.Init.NSSPMode = SPI_NSS_PULSE_ENABLE;
  if (HAL_SPI_Init(&hspi3) != HAL_OK)
  {
    Error_Handler();
  }

}

static void MX_TIM2_Init(void)
{

  TIM_ClockConfigTypeDef sClockSourceConfig = {0};
  TIM_MasterConfigTypeDef sMasterConfig = {0};

  htim2.Instance = TIM2;
  htim2.Init.Prescaler = 7999;
  htim2.Init.CounterMode = TIM_COUNTERMODE_UP;
  htim2.Init.Period = 99;
  htim2.Init.ClockDivision = TIM_CLOCKDIVISION_DIV1;
  htim2.Init.AutoReloadPreload = TIM_AUTORELOAD_PRELOAD_ENABLE;
  if (HAL_TIM_Base_Init(&htim2) != HAL_OK)
  {
    Error_Handler();
  }
  sClockSourceConfig.ClockSource = TIM_CLOCKSOURCE_INTERNAL;
  if (HAL_TIM_ConfigClockSource(&htim2, &sClockSourceConfig) != HAL_OK)
  {
    Error_Handler();
  }
  sMasterConfig.MasterOutputTrigger = TIM_TRGO_RESET;
  sMasterConfig.MasterSlaveMode = TIM_MASTERSLAVEMODE_DISABLE;
  if (HAL_TIMEx_MasterConfigSynchronization(&htim2, &sMasterConfig) != HAL_OK)
  {
    Error_Handler();
  }

}

static void MX_TIM3_Init(void)
{

  TIM_ClockConfigTypeDef sClockSourceConfig = {0};
  TIM_MasterConfigTypeDef sMasterConfig = {0};

  htim3.Instance = TIM3;
  htim3.Init.Prescaler = 800;
  htim3.Init.CounterMode = TIM_COUNTERMODE_UP;
  htim3.Init.Period = 10;
  htim3.Init.ClockDivision = TIM_CLOCKDIVISION_DIV1;
  htim3.Init.AutoReloadPreload = TIM_AUTORELOAD_PRELOAD_DISABLE;
  if (HAL_TIM_Base_Init(&htim3) != HAL_OK)
  {
    Error_Handler();
  }
  sClockSourceConfig.ClockSource = TIM_CLOCKSOURCE_INTERNAL;
  if (HAL_TIM_ConfigClockSource(&htim3, &sClockSourceConfig) != HAL_OK)
  {
    Error_Handler();
  }
  sMasterConfig.MasterOutputTrigger = TIM_TRGO_RESET;
  sMasterConfig.MasterSlaveMode = TIM_MASTERSLAVEMODE_DISABLE;
  if (HAL_TIMEx_MasterConfigSynchronization(&htim3, &sMasterConfig) != HAL_OK)
  {
    Error_Handler();
  }

}

static void MX_TIM5_Init(void)
{

  TIM_ClockConfigTypeDef sClockSourceConfig = {0};
  TIM_MasterConfigTypeDef sMasterConfig = {0};

  htim5.Instance = TIM5;
  htim5.Init.Prescaler = 0;
  htim5.Init.CounterMode = TIM_COUNTERMODE_UP;
  htim5.Init.Period = 4294967295;
  htim5.Init.ClockDivision = TIM_CLOCKDIVISION_DIV1;
  htim5.Init.AutoReloadPreload = TIM_AUTORELOAD_PRELOAD_DISABLE;
  if (HAL_TIM_Base_Init(&htim5) != HAL_OK)
  {
    Error_Handler();
  }
  sClockSourceConfig.ClockSource = TIM_CLOCKSOURCE_INTERNAL;
  if (HAL_TIM_ConfigClockSource(&htim5, &sClockSourceConfig) != HAL_OK)
  {
    Error_Handler();
  }
  sMasterConfig.MasterOutputTrigger = TIM_TRGO_RESET;
  sMasterConfig.MasterSlaveMode = TIM_MASTERSLAVEMODE_DISABLE;
  if (HAL_TIMEx_MasterConfigSynchronization(&htim5, &sMasterConfig) != HAL_OK)
  {
    Error_Handler();
  }

}

static void MX_USART1_UART_Init(void)
{

  huart1.Instance = USART1;
  huart1.Init.BaudRate = 115200;
  huart1.Init.WordLength = UART_WORDLENGTH_8B;
  huart1.Init.StopBits = UART_STOPBITS_1;
  huart1.Init.Parity = UART_PARITY_NONE;
  huart1.Init.Mode = UART_MODE_TX_RX;
  huart1.Init.HwFlowCtl = UART_HWCONTROL_NONE;
  huart1.Init.OverSampling = UART_OVERSAMPLING_16;
  huart1.Init.OneBitSampling = UART_ONE_BIT_SAMPLE_DISABLE;
  huart1.AdvancedInit.AdvFeatureInit = UART_ADVFEATURE_NO_INIT;
  if (HAL_UART_Init(&huart1) != HAL_OK)
  {
    Error_Handler();
  }

}

static void MX_DMA_Init(void)
{

  /* DMA controller clock enable */
  __HAL_RCC_DMA2_CLK_ENABLE();
  __HAL_RCC_DMA1_CLK_ENABLE();

  /* DMA interrupt init */
  /* DMA1_Channel3_IRQn interrupt configuration */
  HAL_NVIC_SetPriority(DMA1_Channel3_IRQn, 0, 0);
  HAL_NVIC_EnableIRQ(DMA1_Channel3_IRQn);
  /* DMA1_Channel4_IRQn interrupt configuration */
  HAL_NVIC_SetPriority(DMA1_Channel4_IRQn, 0, 0);
  HAL_NVIC_EnableIRQ(DMA1_Channel4_IRQn);
  /* DMA1_Channel5_IRQn interrupt configuration */
  HAL_NVIC_SetPriority(DMA1_Channel5_IRQn, 0, 0);
  HAL_NVIC_EnableIRQ(DMA1_Channel5_IRQn);
  /* DMA2_Channel1_IRQn interrupt configuration */
  HAL_NVIC_SetPriority(DMA2_Channel1_IRQn, 0, 0);
  HAL_NVIC_EnableIRQ(DMA2_Channel1_IRQn);
  /* DMA2_Channel2_IRQn interrupt configuration */
  HAL_NVIC_SetPriority(DMA2_Channel2_IRQn, 0, 0);
  HAL_NVIC_EnableIRQ(DMA2_Channel2_IRQn);
  /* DMA2_Channel3_IRQn interrupt configuration */
  HAL_NVIC_SetPriority(DMA2_Channel3_IRQn, 0, 0);
  HAL_NVIC_EnableIRQ(DMA2_Channel3_IRQn);
  /* DMA2_Channel6_IRQn interrupt configuration */
  HAL_NVIC_SetPriority(DMA2_Channel6_IRQn, 0, 0);
  HAL_NVIC_EnableIRQ(DMA2_Channel6_IRQn);
  /* DMA2_Channel7_IRQn interrupt configuration */
  HAL_NVIC_SetPriority(DMA2_Channel7_IRQn, 0, 0);
  HAL_NVIC_EnableIRQ(DMA2_Channel7_IRQn);

}

static void MX_GPIO_Init(void)
{
/* USER CODE BEGIN MX_GPIO_Init_1 */

// CubeMX代码会将GPIO置高，尽量不用它生成

/* USER CODE END MX_GPIO_Init_1 */

  /* GPIO Ports Clock Enable */
  __HAL_RCC_GPIOH_CLK_ENABLE();
  __HAL_RCC_GPIOA_CLK_ENABLE();
  __HAL_RCC_GPIOB_CLK_ENABLE();
  __HAL_RCC_GPIOC_CLK_ENABLE();

}

void Error_Handler(void)
{
  __disable_irq();
  while (1)
  {
  }
}
